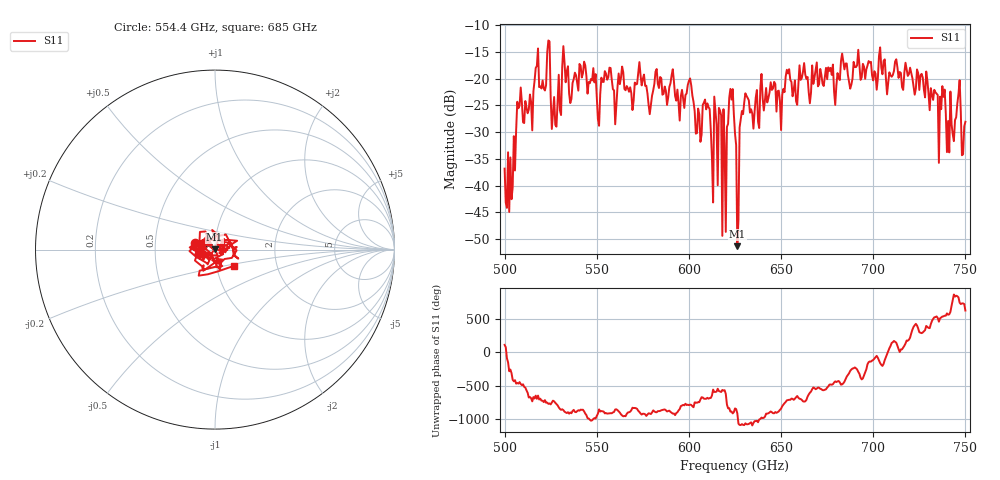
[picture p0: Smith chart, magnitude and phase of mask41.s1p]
!Created with skrf (http://scikit-rf.org).
# GHz S MA R 50.0
!freq magS11 angS11
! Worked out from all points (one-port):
!   401 points, 500 GHz to 750 GHz, reference 50 ohm
!   lowest |S11| = -51.3 dB at 626.2 GHz (marker M1), VSWR 1.01, Z = 49.7 + j0.0786 ohm
!   |S11| at or under -10 dB: start of sweep to end of sweep
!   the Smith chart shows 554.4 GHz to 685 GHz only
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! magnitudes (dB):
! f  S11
! 500 GHz  -36.8
! 503.8 GHz  -42.5
! 508.1 GHz  -25.1
! 513.8 GHz  -23.0
! 516.9 GHz  -18.0
! 523.8 GHz  -12.9
! 526.9 GHz  -23.5
! 531.2 GHz  -17.9
! 542.5 GHz  -19.0
! 551.2 GHz  -28.8
! 562.5 GHz  -21.1
! 593.8 GHz  -22.1
! 600.6 GHz  -20.0
! 605.6 GHz  -26.7
! 610 GHz  -24.6
! 611.9 GHz  -29.7
! 616.2 GHz  -25.5
! 619.4 GHz  -32.6
! 623.1 GHz  -23.9
! 625 GHz  -30.2
! 626.2 GHz  -51.3
! 628.8 GHz  -26.1
! 631.2 GHz  -23.2
! 656.2 GHz  -23.3
! 687.5 GHz  -21.9
! 718.8 GHz  -19.5
! 746.2 GHz  -22.9
! 750 GHz  -28.1
